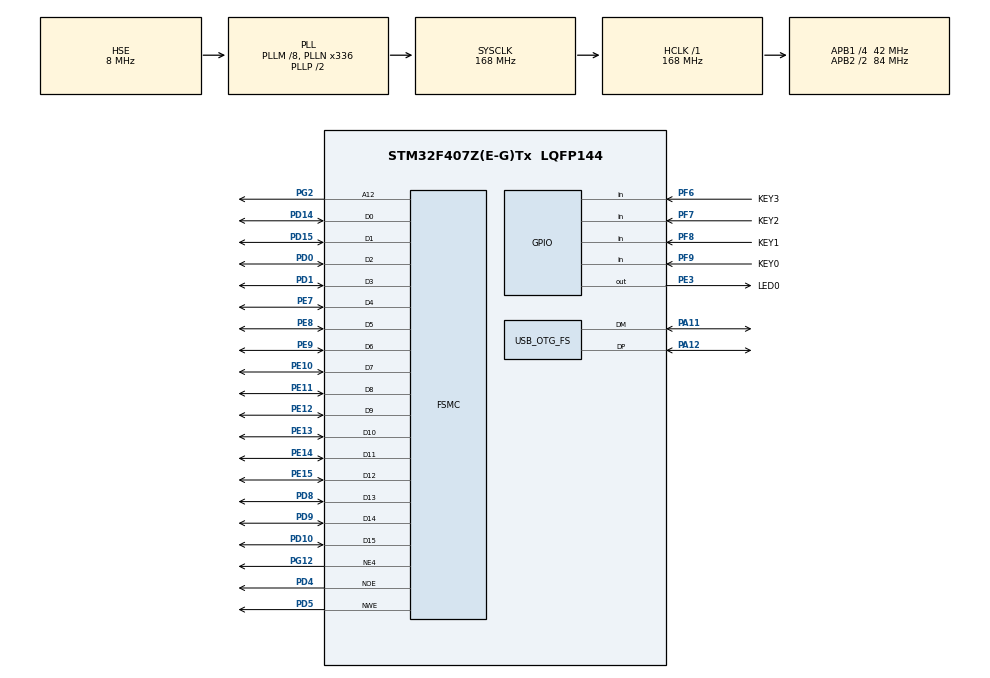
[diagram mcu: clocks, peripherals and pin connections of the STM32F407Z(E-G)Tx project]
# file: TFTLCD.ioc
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FSMC.BusTurnAroundDuration4=0
FSMC.DataSetupTime4=60
FSMC.ExtendedAddressSetupTime4=8
FSMC.ExtendedBusTurnAroundDuration4=0
FSMC.ExtendedDataSetupTime4=7
FSMC.ExtendedMode4=FSMC_EXTENDED_MODE_ENABLE
Mcu.Family=STM32F4
Mcu.Name=STM32F407Z(E-G)Tx
Mcu.Package=LQFP144
NVIC.PriorityGroup=NVIC_PRIORITYGROUP_4
PA11.Mode=Device_Only
PA11.Signal=USB_OTG_FS_DM
PA12.Mode=Device_Only
PA12.Signal=USB_OTG_FS_DP
PA13.Mode=Serial_Wire
PA13.Signal=SYS_JTMS-SWDIO
PA14.Mode=Serial_Wire
PA14.Signal=SYS_JTCK-SWCLK
PD0.Signal=FSMC_D2_DA2
PD1.Signal=FSMC_D3_DA3
PD10.Signal=FSMC_D15_DA15
PD14.Signal=FSMC_D0_DA0
PD15.Signal=FSMC_D1_DA1
PD4.Signal=FSMC_NOE
PD5.Signal=FSMC_NWE
PD8.Signal=FSMC_D13_DA13
PD9.Signal=FSMC_D14_DA14
PE10.Signal=FSMC_D7_DA7
PE11.Signal=FSMC_D8_DA8
PE12.Signal=FSMC_D9_DA9
PE13.Signal=FSMC_D10_DA10
PE14.Signal=FSMC_D11_DA11
PE15.Signal=FSMC_D12_DA12
PE3.GPIO_Label=LED0
PE3.GPIO_PuPd=GPIO_PULLUP
PE3.GPIO_Speed=GPIO_SPEED_FREQ_VERY_HIGH
PE3.PinState=GPIO_PIN_SET
PE3.Signal=GPIO_Output
PE7.Signal=FSMC_D4_DA4
PE8.Signal=FSMC_D5_DA5
PE9.Signal=FSMC_D6_DA6
PF6.GPIO_Label=KEY3
PF6.GPIO_PuPd=GPIO_PULLUP
PF6.Signal=GPIO_Input
PF7.GPIO_Label=KEY2
PF7.GPIO_PuPd=GPIO_PULLUP
PF7.Signal=GPIO_Input
PF8.GPIO_Label=KEY1
PF8.GPIO_PuPd=GPIO_PULLUP
PF8.Signal=GPIO_Input
PF9.GPIO_Label=KEY0
PF9.GPIO_PuPd=GPIO_PULLUP
PF9.Signal=GPIO_Input
PG12.Mode=NorPsramChipSelect4_4
PG12.Signal=FSMC_NE4
PG2.Signal=FSMC_A12
PH0-OSC_IN.Mode=HSE-External-Oscillator
PH0-OSC_IN.Signal=RCC_OSC_IN
PH1-OSC_OUT.Mode=HSE-External-Oscillator
PH1-OSC_OUT.Signal=RCC_OSC_OUT
ProjectManager.HeapSize=0x200
ProjectManager.StackSize=0x400
ProjectManager.TargetToolchain=MDK-ARM V5.32
RCC.48MHZClocksFreq_Value=48000000
RCC.AHBFreq_Value=168000000
RCC.APB1CLKDivider=RCC_HCLK_DIV4
RCC.APB1Freq_Value=42000000
RCC.APB1TimFreq_Value=84000000
RCC.APB2CLKDivider=RCC_HCLK_DIV2
RCC.APB2Freq_Value=84000000
RCC.APB2TimFreq_Value=168000000
RCC.CortexFreq_Value=168000000
RCC.HCLKFreq_Value=168000000
RCC.HSE_VALUE=8000000
RCC.HSI_VALUE=16000000
RCC.LSE_VALUE=32768
RCC.PLLM=8
RCC.PLLN=336
RCC.PLLQ=7
RCC.SYSCLKFreq_VALUE=168000000
RCC.SYSCLKSource=RCC_SYSCLKSOURCE_PLLCLK
RCC.VCOOutputFreq_Value=336000000
SH.FSMC_A12.0=FSMC_A12,A12_4
SH.FSMC_D0_DA0.0=FSMC_D0,16b-d4
SH.FSMC_D10_DA10.0=FSMC_D10,16b-d4
SH.FSMC_D11_DA11.0=FSMC_D11,16b-d4
SH.FSMC_D12_DA12.0=FSMC_D12,16b-d4
SH.FSMC_D13_DA13.0=FSMC_D13,16b-d4
SH.FSMC_D14_DA14.0=FSMC_D14,16b-d4
SH.FSMC_D15_DA15.0=FSMC_D15,16b-d4
SH.FSMC_D1_DA1.0=FSMC_D1,16b-d4
SH.FSMC_D2_DA2.0=FSMC_D2,16b-d4
SH.FSMC_D3_DA3.0=FSMC_D3,16b-d4
SH.FSMC_D4_DA4.0=FSMC_D4,16b-d4
SH.FSMC_D5_DA5.0=FSMC_D5,16b-d4
SH.FSMC_D6_DA6.0=FSMC_D6,16b-d4
SH.FSMC_D7_DA7.0=FSMC_D7,16b-d4
SH.FSMC_D8_DA8.0=FSMC_D8,16b-d4
SH.FSMC_D9_DA9.0=FSMC_D9,16b-d4
SH.FSMC_NOE.0=FSMC_NOE,Lcd4
SH.FSMC_NWE.0=FSMC_NWE,Lcd4
USB_OTG_FS.VirtualMode=Device_Only
board=custom

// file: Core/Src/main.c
/* USER CODE BEGIN Header */
/**
  ******************************************************************************
  * @file           : main.c
  * @brief          : Main program body
  ******************************************************************************
  * @attention
  *
  * Copyright (c) 2026 STMicroelectronics.
  * All rights reserved.
  *
  * This software is licensed under terms that can be found in the LICENSE file
  * in the root directory of this software component.
  * If no LICENSE file comes with this software, it is provided AS-IS.
  *
  ******************************************************************************
  */
/* USER CODE END Header */
#include "main.h"
#include "usb_otg.h"
#include "gpio.h"
// #include "fsmc.h"

/* USER CODE BEGIN Includes */
#include "key.h"
#include "led.h"
/* USER CODE END Includes */

/* USER CODE BEGIN PV */
TaskHandle_t hScanTask;
TaskHandle_t hLedTask;
TaskHandle_t hLcdTask;

uint8_t scan_mode=0;
/* USER CODE END PV */

void SystemClock_Config(void);
/* USER CODE BEGIN PFP */
void DWT_Init(void);
/* USER CODE END PFP */

/* USER CODE BEGIN 0 */
void DWT_Init(void){
  /* 使能调试监控单元 */
  CoreDebug->DEMCR|=CoreDebug_DEMCR_TRCENA_Msk;
  /* 是能循环计数器 */
  DWT->CTRL|=DWT_CTRL_CYCCNTENA_Msk;
  /* 清零计数器 */
  DWT->CYCCNT=0;
}
/* USER CODE END 0 */

int main(void)
{

  /* MCU Configuration--------------------------------------------------------*/

  /* Reset of all peripherals, Initializes the Flash interface and the Systick. */
  HAL_Init();

  /* USER CODE BEGIN Init */
  DWT_Init();
  /* USER CODE END Init */

  /* Configure the system clock */
  SystemClock_Config();

  /* USER CODE BEGIN SysInit */
  DWT->CYCCNT=0;
  /* USER CODE END SysInit */

  /* Initialize all configured peripherals */
  MX_GPIO_Init();
  MX_USB_OTG_FS_PCD_Init();
  /* USER CODE BEGIN 2 */
  LCD_Init();

  if(xTaskCreate(Scan_Task,"key_scan",128,(void*)&scan_mode,3,&hScanTask)!=pdPASS){
    Error_Handler();
  }
  if(xTaskCreate(Led_task,"led",128,NULL,2,&hLedTask)!=pdPASS){
    Error_Handler();
  }
  if(xTaskCreate(LCD_task,"display",2048,NULL,2,&hLcdTask)!=pdPASS){
    Error_Handler();
  }
  /* USER CODE END 2 */

  /* Infinite loop */
  /* USER CODE BEGIN WHILE */
  vTaskStartScheduler();
  while (1)
  {
    /* USER CODE END WHILE */

  }
}

void SystemClock_Config(void)
{
  RCC_OscInitTypeDef RCC_OscInitStruct = {0};
  RCC_ClkInitTypeDef RCC_ClkInitStruct = {0};

  /** Configure the main internal regulator output voltage
  */
  __HAL_RCC_PWR_CLK_ENABLE();
  __HAL_PWR_VOLTAGESCALING_CONFIG(PWR_REGULATOR_VOLTAGE_SCALE1);

  /** Initializes the RCC Oscillators according to the specified parameters
  * in the RCC_OscInitTypeDef structure.
  */
  RCC_OscInitStruct.OscillatorType = RCC_OSCILLATORTYPE_HSE;
  RCC_OscInitStruct.HSEState = RCC_HSE_ON;
  RCC_OscInitStruct.PLL.PLLState = RCC_PLL_ON;
  RCC_OscInitStruct.PLL.PLLSource = RCC_PLLSOURCE_HSE;
  RCC_OscInitStruct.PLL.PLLM = 8;
  RCC_OscInitStruct.PLL.PLLN = 336;
  RCC_OscInitStruct.PLL.PLLP = RCC_PLLP_DIV2;
  RCC_OscInitStruct.PLL.PLLQ = 7;
  if (HAL_RCC_OscConfig(&RCC_OscInitStruct) != HAL_OK)
  {
    Error_Handler();
  }

  /** Initializes the CPU, AHB and APB buses clocks
  */
  RCC_ClkInitStruct.ClockType = RCC_CLOCKTYPE_HCLK|RCC_CLOCKTYPE_SYSCLK
                              |RCC_CLOCKTYPE_PCLK1|RCC_CLOCKTYPE_PCLK2;
  RCC_ClkInitStruct.SYSCLKSource = RCC_SYSCLKSOURCE_PLLCLK;
  RCC_ClkInitStruct.AHBCLKDivider = RCC_SYSCLK_DIV1;
  RCC_ClkInitStruct.APB1CLKDivider = RCC_HCLK_DIV4;
  RCC_ClkInitStruct.APB2CLKDivider = RCC_HCLK_DIV2;

  if (HAL_RCC_ClockConfig(&RCC_ClkInitStruct, FLASH_LATENCY_5) != HAL_OK)
  {
    Error_Handler();
  }
}

/* USER CODE BEGIN 4 */

uint32_t HAL_GetTick(void)
{
  /*
    公式：时间 (ms) = 计数值 / (CPU 频率 Hz / 1000)
    注意：SystemCoreClock 必须在 SystemClock_Config() 之后才是正确的 (168MHz)
    如果在 SystemClock_Config 之前调用，SystemCoreClock 默认为 16MHz (HSI)，
    但这通常只影响极短时间的初始化，问题不大。
    */
  if (SystemCoreClock == 0){
    // 防止除以零，虽然理论上不会发生
    return DWT->CYCCNT / 168;
  }
  return DWT->CYCCNT / (SystemCoreClock / 1000);
}
/* USER CODE END 4 */

void Error_Handler(void)
{
  __disable_irq();
  while (1)
  {
  }
}
